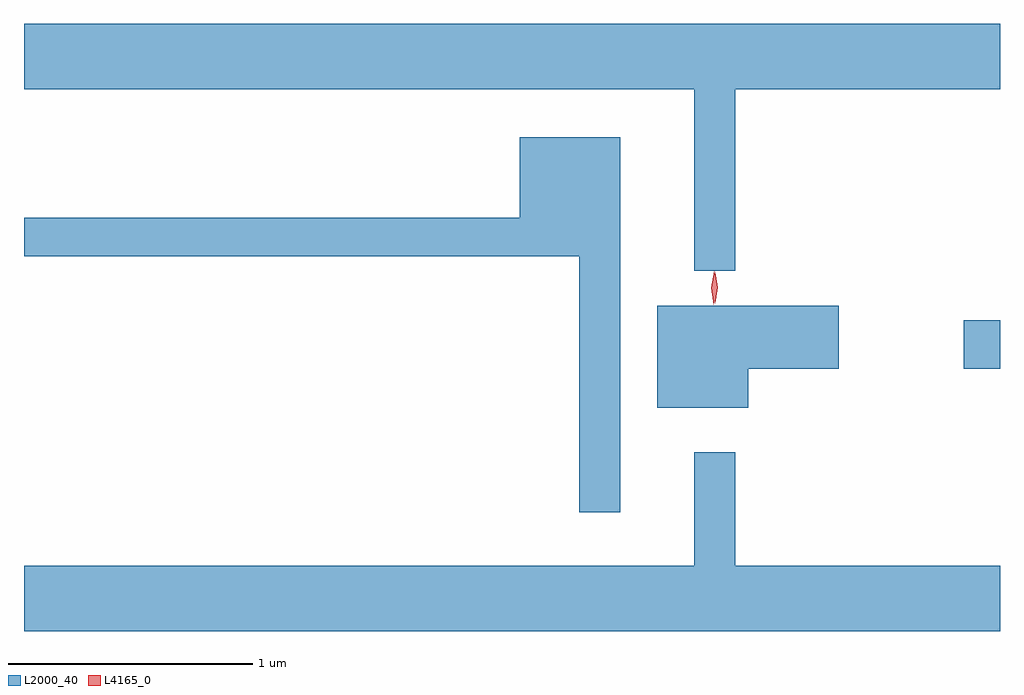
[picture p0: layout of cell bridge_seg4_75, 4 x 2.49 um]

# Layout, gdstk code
import gdstk
lib = gdstk.Library(unit=1e-6, precision=1e-09)
def R(c, l, rs):  # rectangles x0, y0, x1, y1
    for r in rs: c.add(gdstk.rectangle(r[:2], r[2:], *l))
def P(c, l, *ps):  # polygons
    for p in ps: c.add(gdstk.Polygon(p, *l))
L2000_40 = (2000, 40)
L4165_0 = (4165, 0)

bridge_seg4_75 = lib.new_cell('bridge_seg4_75')
R(bridge_seg4_75, L2000_40, [(1844.746,1384.611,1844.895,1384.809)])
P(bridge_seg4_75, L2000_40, [(1843.809,1385.756),(1844.895,1385.756),(1844.895,1386.024),(1840.895,1386.024),(1840.895,1385.756),(1843.641,1385.756),(1843.641,1385.013),(1843.809,1385.013)],
  [(1843.339,1385.559),(1842.926,1385.559),(1842.926,1385.229),(1840.895,1385.229),(1840.895,1385.071),(1843.171,1385.071),(1843.171,1384.023),(1843.339,1384.023)],
  [(1843.864,1384.611),(1844.234,1384.611),(1844.234,1384.869),(1843.491,1384.869),(1843.491,1384.451),(1843.864,1384.451)],
  [(1844.895,1383.804),(1843.809,1383.804),(1843.809,1384.268),(1843.641,1384.268),(1843.641,1383.804),(1840.895,1383.804),(1840.895,1383.536),(1844.895,1383.536)])
P(bridge_seg4_75, L4165_0, [(1843.721,1384.874),(1843.712,1384.942),(1843.723,1385.01),(1843.723,1385.01),(1843.724,1385.01),(1843.732,1384.942),(1843.722,1384.874),(1843.722,1384.874)],
  [(1843.727,1384.88),(1843.718,1384.944),(1843.727,1385.006),(1843.728,1385.007),(1843.728,1385.006),(1843.738,1384.944),(1843.728,1384.88),(1843.728,1384.88)])

lib.write_gds('bridge_seg4_75.gds')
